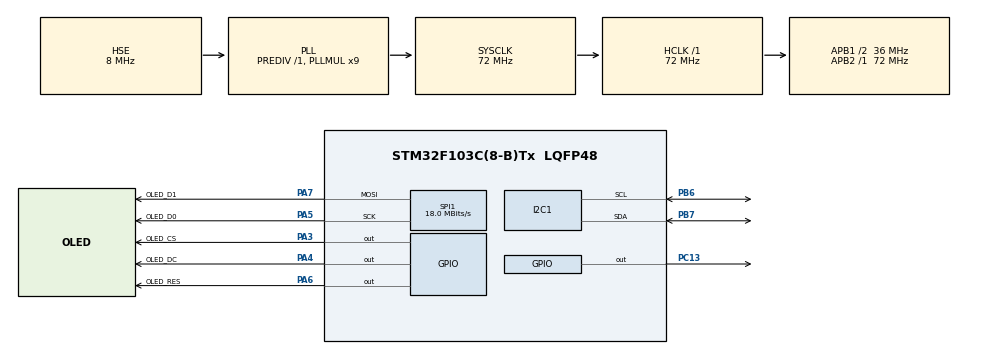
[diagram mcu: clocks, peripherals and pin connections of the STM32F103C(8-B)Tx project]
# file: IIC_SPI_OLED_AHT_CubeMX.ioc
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Mcu.Family=STM32F1
Mcu.Name=STM32F103C(8-B)Tx
Mcu.Package=LQFP48
NVIC.PriorityGroup=NVIC_PRIORITYGROUP_4
PA13.Mode=Serial_Wire
PA13.Signal=SYS_JTMS-SWDIO
PA14.Mode=Serial_Wire
PA14.Signal=SYS_JTCK-SWCLK
PA3.GPIO_Label=OLED_CS
PA3.Signal=GPIO_Output
PA4.GPIO_Label=OLED_DC
PA4.Signal=GPIO_Output
PA5.GPIO_Label=OLED_D0
PA5.Mode=TX_Only_Simplex_Unidirect_Master
PA5.Signal=SPI1_SCK
PA6.GPIO_Label=OLED_RES
PA6.Signal=GPIO_Output
PA7.GPIO_Label=OLED_D1
PA7.Mode=TX_Only_Simplex_Unidirect_Master
PA7.Signal=SPI1_MOSI
PB6.Mode=I2C
PB6.Signal=I2C1_SCL
PB7.Mode=I2C
PB7.Signal=I2C1_SDA
PC13-TAMPER-RTC.Signal=GPIO_Output
PD0-OSC_IN.Mode=HSE-External-Oscillator
PD0-OSC_IN.Signal=RCC_OSC_IN
PD1-OSC_OUT.Mode=HSE-External-Oscillator
PD1-OSC_OUT.Signal=RCC_OSC_OUT
ProjectManager.HeapSize=0x200
ProjectManager.StackSize=0x400
ProjectManager.TargetToolchain=MDK-ARM V5.32
RCC.AHBFreq_Value=72000000
RCC.APB1CLKDivider=RCC_HCLK_DIV2
RCC.APB1Freq_Value=36000000
RCC.APB1TimFreq_Value=72000000
RCC.APB2Freq_Value=72000000
RCC.APB2TimFreq_Value=72000000
RCC.HCLKFreq_Value=72000000
RCC.PLLMUL=RCC_PLL_MUL9
RCC.PLLSourceVirtual=RCC_PLLSOURCE_HSE
RCC.SYSCLKFreq_VALUE=72000000
RCC.SYSCLKSource=RCC_SYSCLKSOURCE_PLLCLK
RCC.USBFreq_Value=72000000
SPI1.BaudRatePrescaler=SPI_BAUDRATEPRESCALER_4
SPI1.CalculateBaudRate=18.0 MBits/s
SPI1.Direction=SPI_DIRECTION_2LINES
SPI1.Mode=SPI_MODE_MASTER
SPI1.VirtualType=VM_MASTER
board=custom

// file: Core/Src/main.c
/* USER CODE BEGIN Header */
/**
  ******************************************************************************
  * @file           : main.c
  * @brief          : Main program body
  ******************************************************************************
  * @attention
  *
  * Copyright (c) 2022 STMicroelectronics.
  * All rights reserved.
  *
  * This software is licensed under terms that can be found in the LICENSE file
  * in the root directory of this software component.
  * If no LICENSE file comes with this software, it is provided AS-IS.
  *
  ******************************************************************************
  */
/* USER CODE END Header */
#include "main.h"
#include "i2c.h"
#include "spi.h"
#include "gpio.h"

/* USER CODE BEGIN Includes */

#include "stm32f1xx_hal.h"
#include "includes.h"
#include "stdbool.h"
#include "oled.h"
#include "bmp.h"
#include "gui.h"
#include "AHT20.h"

/* USER CODE END Includes */

/* USER CODE BEGIN PD */

/* 任务优先级 */
#define START_TASK_PRIO		3
#define SHOW_ROLL_TASK_PRIO		4
#define SHOW_AHT20_TASK_PRIO	  5

/* 任务堆栈大小	*/
#define START_STK_SIZE 		64
#define SHOW_ROLL_STK_SIZE 		64
#define SHOW_AHT20_STK_SIZE 			64//任务堆大小过大会报错，可以试着改小一点

/* 任务栈 */
CPU_STK START_TASK_STK[START_STK_SIZE];
CPU_STK SHOW_ROLL_TASK_STK[SHOW_ROLL_STK_SIZE];
CPU_STK SHOW_AHT20_TASK_STK[SHOW_AHT20_STK_SIZE];
/* 任务控制块 */
OS_TCB StartTaskTCB;
OS_TCB ShowrollTaskTCB;
OS_TCB Showaht20TaskTCB;

/* USER CODE END PD */

/* USER CODE BEGIN PV */

/* 任务函数定义 */
void start_task(void *p_arg);
static  void  AppTaskCreate(void);
static  void  AppObjCreate(void);
static  void  show_roll(void *p_arg);
static  void  show_aht20(void *p_arg);

/* USER CODE END PV */

void SystemClock_Config(void);

/* USER CODE BEGIN 0 */

//用于LED显示的温度和湿度
uint32_t CT_data[2]={0,0};	// 设置读取温度的参数
volatile int  c1,t1;
uint8_t temp[10];
uint8_t hum[10];

void getData(){	// 读取温度并转为字符串格式便于 OLED 进行显示
	//AHT20_Read_CTdata(CT_data);       //不经过CRC校验，直接读取AHT20的温度和湿度数据    推荐每隔大于1S读一次
		AHT20_Read_CTdata_crc(CT_data);;  //crc校验后，读取AHT20的温度和湿度数据
		c1 = CT_data[0]*1000/1024/1024;  //计算得到湿度值c1（放大了10倍）
		t1 = CT_data[1]*2000/1024/1024-500;//计算得到温度值t1（放大了10倍）

		//转为字符串易于显示
		temp[0]=t1/100+'0';
		temp[1]=(t1/10)%10+'0';
		temp[2]='.';
		temp[3]=t1%10+'0';
		temp[4]='\0';

		hum[0]=c1/100+'0';
		hum[1]=(c1/10)%10+'0';
		hum[2]='.';
		hum[3]=c1%10+'0';
		hum[4]=32;
		hum[5]='%';
		hum[6]='\0';
}

/* USER CODE END 0 */

int main(void)
{
  /* USER CODE BEGIN 1 */

	OS_ERR  err;
	OSInit(&err);

  /* USER CODE END 1 */

  /* MCU Configuration--------------------------------------------------------*/

  /* Reset of all peripherals, Initializes the Flash interface and the Systick. */
  HAL_Init();

  /* Configure the system clock */
  SystemClock_Config();

  /* Initialize all configured peripherals */
  MX_GPIO_Init();
  MX_I2C1_Init();
  MX_SPI1_Init();
  /* USER CODE BEGIN 2 */

	OLED_Init();	// OLED 初始化

	OSTaskCreate((OS_TCB     *)&StartTaskTCB,                /* Create the start task                                */
				 (CPU_CHAR   *)"start task",
				 (OS_TASK_PTR ) start_task,
				 (void       *) 0,
				 (OS_PRIO     ) START_TASK_PRIO,
				 (CPU_STK    *)&START_TASK_STK[0],
				 (CPU_STK_SIZE) START_STK_SIZE/10,
				 (CPU_STK_SIZE) START_STK_SIZE,
				 (OS_MSG_QTY  ) 0,
				 (OS_TICK     ) 0,
				 (void       *) 0,
				 (OS_OPT      )(OS_OPT_TASK_STK_CHK | OS_OPT_TASK_STK_CLR),
				 (OS_ERR     *)&err);
	/* 启动多任务系统，控制权交给uC/OS-III */
	OSStart(&err);            /* Start multitasking (i.e. give control to uC/OS-III). */

  /* USER CODE END 2 */

  /* Infinite loop */
  /* USER CODE BEGIN WHILE */
}

/**
  * @brief System Clock Configuration
  * @retval None
  */
void SystemClock_Config(void)
{
  RCC_OscInitTypeDef RCC_OscInitStruct = {0};
  RCC_ClkInitTypeDef RCC_ClkInitStruct = {0};

  /** Initializes the RCC Oscillators according to the specified parameters
  * in the RCC_OscInitTypeDef structure.
  */
  RCC_OscInitStruct.OscillatorType = RCC_OSCILLATORTYPE_HSE;
  RCC_OscInitStruct.HSEState = RCC_HSE_ON;
  RCC_OscInitStruct.HSEPredivValue = RCC_HSE_PREDIV_DIV1;
  RCC_OscInitStruct.HSIState = RCC_HSI_ON;
  RCC_OscInitStruct.PLL.PLLState = RCC_PLL_ON;
  RCC_OscInitStruct.PLL.PLLSource = RCC_PLLSOURCE_HSE;
  RCC_OscInitStruct.PLL.PLLMUL = RCC_PLL_MUL9;
  if (HAL_RCC_OscConfig(&RCC_OscInitStruct) != HAL_OK)
  {
    Error_Handler();
  }

  /** Initializes the CPU, AHB and APB buses clocks
  */
  RCC_ClkInitStruct.ClockType = RCC_CLOCKTYPE_HCLK|RCC_CLOCKTYPE_SYSCLK
                              |RCC_CLOCKTYPE_PCLK1|RCC_CLOCKTYPE_PCLK2;
  RCC_ClkInitStruct.SYSCLKSource = RCC_SYSCLKSOURCE_PLLCLK;
  RCC_ClkInitStruct.AHBCLKDivider = RCC_SYSCLK_DIV1;
  RCC_ClkInitStruct.APB1CLKDivider = RCC_HCLK_DIV2;
  RCC_ClkInitStruct.APB2CLKDivider = RCC_HCLK_DIV1;

  if (HAL_RCC_ClockConfig(&RCC_ClkInitStruct, FLASH_LATENCY_2) != HAL_OK)
  {
    Error_Handler();
  }
}

/* USER CODE BEGIN 4 */

void start_task(void *p_arg)
{
	OS_ERR err;
	CPU_SR_ALLOC();
	p_arg = p_arg;

	/* YangJie add 2021.05.20*/
  BSP_Init();                                                   /* Initialize BSP functions */
  //CPU_Init();
  //Mem_Init();                                                 /* Initialize Memory Management Module */

#if OS_CFG_STAT_TASK_EN > 0u
   OSStatTaskCPUUsageInit(&err);  		//统计任务
#endif

#ifdef CPU_CFG_INT_DIS_MEAS_EN			//如果使能了测量中断关闭时间
    CPU_IntDisMeasMaxCurReset();
#endif

#if	OS_CFG_SCHED_ROUND_ROBIN_EN  		//当使用时间片轮转的时候
	 //使能时间片轮转调度功能,时间片长度为1个系统时钟节拍，既1*5=5ms
	OSSchedRoundRobinCfg(DEF_ENABLED,1,&err);
#endif

	OS_CRITICAL_ENTER();	//进入临界区
	/* 创建SHOW_ROLL任务 */
	OSTaskCreate((OS_TCB 	* )&ShowrollTaskTCB,
				 (CPU_CHAR	* )"show_roll",
                 (OS_TASK_PTR )show_roll,
                 (void		* )0,
                 (OS_PRIO	  )SHOW_ROLL_TASK_PRIO,
                 (CPU_STK   * )&SHOW_ROLL_TASK_STK[0],
                 (CPU_STK_SIZE)SHOW_ROLL_STK_SIZE/10,
                 (CPU_STK_SIZE)SHOW_ROLL_STK_SIZE,
                 (OS_MSG_QTY  )0,
                 (OS_TICK	  )0,
                 (void   	* )0,
                 (OS_OPT      )OS_OPT_TASK_STK_CHK|OS_OPT_TASK_STK_CLR,
                 (OS_ERR 	* )&err);

	/* 创建MSG任务 */
	OSTaskCreate((OS_TCB 	* )&Showaht20TaskTCB,
				 (CPU_CHAR	* )"show_aht20",
                 (OS_TASK_PTR )show_aht20,
                 (void		* )0,
                 (OS_PRIO	  )SHOW_AHT20_TASK_PRIO,
                 (CPU_STK   * )&SHOW_AHT20_TASK_STK[0],
                 (CPU_STK_SIZE)SHOW_AHT20_STK_SIZE/10,
                 (CPU_STK_SIZE)SHOW_AHT20_STK_SIZE,
                 (OS_MSG_QTY  )0,
                 (OS_TICK	  )0,
                 (void   	* )0,
                 (OS_OPT      )OS_OPT_TASK_STK_CHK|OS_OPT_TASK_STK_CLR,
                 (OS_ERR 	* )&err);

	OS_TaskSuspend((OS_TCB*)&StartTaskTCB,&err);		//挂起开始任务
	OS_CRITICAL_EXIT();	//进入临界区
}
/**
  * 函数功能: 启动任务函数体。
  * 输入参数: p_arg 是在创建该任务时传递的形参
  * 返 回 值: 无
  * 说    明：无
  */

// 实现函数

static  void  show_roll (void *p_arg)
{
  OS_ERR      err;

  (void)p_arg;

  BSP_Init();                                                 /* Initialize BSP functions                             */
  CPU_Init();

  Mem_Init();                                                 /* Initialize Memory Management Module                  */

#if OS_CFG_STAT_TASK_EN > 0u
  OSStatTaskCPUUsageInit(&err);                               /* Compute CPU capacity with no task running            */
#endif

  CPU_IntDisMeasMaxCurReset();

  AppTaskCreate();                                            /* Create Application Tasks                             */

  AppObjCreate();                                             /* Create Application Objects                           */

		// 屏幕显示
	OLED_Clear(0);	// 清空屏幕
	OSTimeDlyHMSM(0, 0, 1, 0,OS_OPT_TIME_HMSM_STRICT,&err);
	OLED_WR_Byte(0x2E,OLED_CMD); //关闭滚动
	OLED_WR_Byte(0x27,OLED_CMD); //水平向左或者右滚动 26/27
	OLED_WR_Byte(0x00,OLED_CMD); //虚拟字节
	OLED_WR_Byte(0x00,OLED_CMD); //起始页 0
	OLED_WR_Byte(0x07,OLED_CMD); //滚动时间间隔
	OLED_WR_Byte(0x02,OLED_CMD); //终止页 2
	OLED_WR_Byte(0x00,OLED_CMD); //虚拟字节
	OLED_WR_Byte(0xFF,OLED_CMD); //虚拟字节
	GUI_ShowString(40,0,(uint8_t *)"ppqppl",16,1);
	//GUI_ShowCHinese(10,0,16,"春有百花秋有月",1);
  while (DEF_TRUE)
  {
		OLED_WR_Byte(0x2F,OLED_CMD); //开启滚动
		OSTimeDlyHMSM(0, 0, 30, 0,OS_OPT_TIME_HMSM_STRICT,&err);
    /* USER CODE END WHILE */

  }
}
static  void  show_aht20 (void *p_arg)
{
  OS_ERR      err;

  (void)p_arg;

  BSP_Init();                                                 /* Initialize BSP functions                             */
  CPU_Init();

  Mem_Init();                                                 /* Initialize Memory Management Module                  */

#if OS_CFG_STAT_TASK_EN > 0u
  OSStatTaskCPUUsageInit(&err);                               /* Compute CPU capacity with no task running            */
#endif

  CPU_IntDisMeasMaxCurReset();

  AppTaskCreate();                                            /* Create Application Tasks                             */

  AppObjCreate();                                             /* Create Application Objects                           */

/***********************************************************************************/
/**///①刚上电，产品芯片内部就绪需要时间，延时100~500ms,建议500ms
/***********************************************************************************/
/*	OSTimeDlyHMSM(0, 0, 0, 500,OS_OPT_TIME_HMSM_STRICT,&err);
	AHT20_Init();	// AHT20 初始化
		OSTimeDlyHMSM(0, 0, 0, 500,OS_OPT_TIME_HMSM_STRICT,&err);

  while (DEF_TRUE)
  {

			// 获取温度
		HAL_GPIO_WritePin(GPIOC,GPIO_PIN_13,GPIO_PIN_RESET);	// 使用 PC13 引脚上的板载小灯泡进行测试——小灯泡亮
		AHT20_Read_CTdata_crc(CT_data);       //经过CRC校验，读取AHT20的温度和湿度数据    推荐每隔大于1S读一次
		c1 = CT_data[0]*1000/1024/1024;  //计算得到湿度值c1（放大了10倍）
		t1 = CT_data[1]*2000/1024/1024-500;//计算得到温度值t1（放大了10倍）

		getData();	// 获取温湿度

		//显示温度
		GUI_ShowCHinese(15,28,16,"温度",1);
		GUI_ShowString(47,28,":",16,1);
		GUI_ShowString(62,28,temp,16,1);
		GUI_ShowCHinese(96,28,16,"℃",1);

		//显示湿度
		GUI_ShowCHinese(15,48,16,"湿度",1);
		GUI_ShowString(47,48,":",16,1);
		GUI_ShowString(62,48,hum,16,1);

		OSTimeDlyHMSM(0, 0, 2, 0,OS_OPT_TIME_HMSM_STRICT,&err);
  }*/
  /* USER CODE END 3 */
}

/**
  * 函数功能: 创建应用任务
  * 输入参数: p_arg 是在创建该任务时传递的形参
  * 返 回 值: 无
  * 说    明：无
  */
static  void  AppTaskCreate (void)
{

}

/**
  * 函数功能: uCOSIII内核对象创建
  * 输入参数: 无
  * 返 回 值: 无
  * 说    明：无
  */
static  void  AppObjCreate (void)
{

}

/* USER CODE END 4 */

void Error_Handler(void)
{
  __disable_irq();
  while (1)
  {
  }
}
